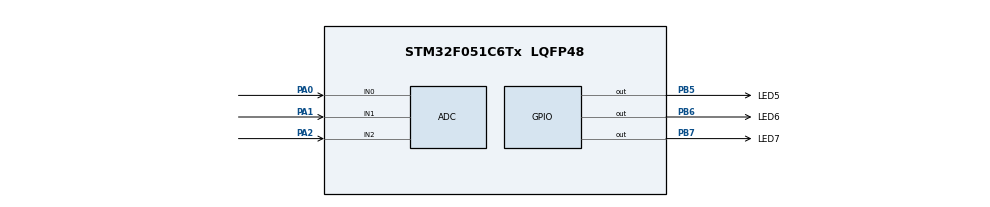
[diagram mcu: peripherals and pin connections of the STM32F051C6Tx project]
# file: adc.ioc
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Mcu.Family=STM32F0
Mcu.Name=STM32F051C6Tx
Mcu.Package=LQFP48
PA0.Mode=IN0
PA0.Signal=ADC_IN0
PA1.Mode=IN1
PA1.Signal=ADC_IN1
PA13.Mode=Serial_Wire
PA13.Signal=SYS_SWDIO
PA14.Mode=Serial_Wire
PA14.Signal=SYS_SWCLK
PA2.Mode=IN2
PA2.Signal=ADC_IN2
PB5.GPIO_Label=LED5
PB5.Signal=GPIO_Output
PB6.GPIO_Label=LED6
PB6.Signal=GPIO_Output
PB7.GPIO_Label=LED7
PB7.Signal=GPIO_Output
ProjectManager.HeapSize=0x200
ProjectManager.StackSize=0x400
ProjectManager.TargetToolchain=Makefile
board=custom

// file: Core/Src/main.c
/* USER CODE BEGIN Header */
/**
  ******************************************************************************
  * @file           : main.c
  * @brief          : Main program body
  ******************************************************************************
  * @attention
  *
  * Copyright (c) 2024 STMicroelectronics.
  * All rights reserved.
  *
  * This software is licensed under terms that can be found in the LICENSE file
  * in the root directory of this software component.
  * If no LICENSE file comes with this software, it is provided AS-IS.
  *
  ******************************************************************************ṇ
  */
/* USER CODE END Header */
#include "main.h"
#include "adc.h"
#include "gpio.h"

/* USER CODE BEGIN PV */
//JUSTIN - START 1/3
uint16_t adc_value ;
uint8_t channel = 0;
//JUSTIN - END
/* USER CODE END PV */

void SystemClock_Config(void);

int main(void)
{

  /* MCU Configuration--------------------------------------------------------*/

  /* Reset of all peripherals, Initializes the Flash interface and the Systick. */
  HAL_Init();

  /* Configure the system clock */
  SystemClock_Config();

  /* Initialize all configured peripherals */
  MX_GPIO_Init();
  MX_ADC_Init();

  /* Infinite loop */
  while (1)
  {

    /* USER CODE BEGIN 3 */
    //JUSTIN - START 2/3
    ADC1 -> CHSELR = ADC_CHSELR_CHSEL0;
    HAL_ADC_Start(&hadc);
    HAL_Delay(10);

    while(HAL_ADC_PollForConversion(&hadc,5)!= HAL_OK);
    adc_value = HAL_ADC_GetValue(&hadc);

    if(adc_value > 900) {
      HAL_GPIO_WritePin(LED7_GPIO_Port,LED7_Pin,SET);
    } else {
      HAL_GPIO_WritePin(LED7_GPIO_Port,LED7_Pin,RESET);
    }
    HAL_ADC_Stop(&hadc);

    ADC1 -> CHSELR = ADC_CHSELR_CHSEL1;
    HAL_ADC_Start(&hadc);
    HAL_Delay(10);

    while(HAL_ADC_PollForConversion(&hadc,5)!= HAL_OK);
    adc_value = HAL_ADC_GetValue(&hadc);

    if(adc_value > 900) {
      HAL_GPIO_WritePin(LED6_GPIO_Port,LED6_Pin,SET);
    } else {
      HAL_GPIO_WritePin(LED6_GPIO_Port,LED6_Pin,RESET);
    }
    HAL_ADC_Stop(&hadc);

   ADC1 -> CHSELR = ADC_CHSELR_CHSEL2;
    HAL_ADC_Start(&hadc);
    HAL_Delay(10);

    while(HAL_ADC_PollForConversion(&hadc,5)!= HAL_OK);
    adc_value = HAL_ADC_GetValue(&hadc);

    if(adc_value > 900) {
      HAL_GPIO_WritePin(LED5_GPIO_Port,LED5_Pin,SET);
    } else {
      HAL_GPIO_WritePin(LED5_GPIO_Port,LED5_Pin,RESET);
    }
    HAL_ADC_Stop(&hadc);

    //JUSTIN - END
  }
  /* USER CODE END 3 */
}

void SystemClock_Config(void)
{
  RCC_OscInitTypeDef RCC_OscInitStruct = {0};
  RCC_ClkInitTypeDef RCC_ClkInitStruct = {0};

  /** Initializes the RCC Oscillators according to the specified parameters
  * in the RCC_OscInitTypeDef structure.
  */
  RCC_OscInitStruct.OscillatorType = RCC_OSCILLATORTYPE_HSI|RCC_OSCILLATORTYPE_HSI14;
  RCC_OscInitStruct.HSIState = RCC_HSI_ON;
  RCC_OscInitStruct.HSI14State = RCC_HSI14_ON;
  RCC_OscInitStruct.HSICalibrationValue = RCC_HSICALIBRATION_DEFAULT;
  RCC_OscInitStruct.HSI14CalibrationValue = 16;
  RCC_OscInitStruct.PLL.PLLState = RCC_PLL_NONE;
  if (HAL_RCC_OscConfig(&RCC_OscInitStruct) != HAL_OK)
  {
    Error_Handler();
  }

  /** Initializes the CPU, AHB and APB buses clocks
  */
  RCC_ClkInitStruct.ClockType = RCC_CLOCKTYPE_HCLK|RCC_CLOCKTYPE_SYSCLK
                              |RCC_CLOCKTYPE_PCLK1;
  RCC_ClkInitStruct.SYSCLKSource = RCC_SYSCLKSOURCE_HSI;
  RCC_ClkInitStruct.AHBCLKDivider = RCC_SYSCLK_DIV1;
  RCC_ClkInitStruct.APB1CLKDivider = RCC_HCLK_DIV1;

  if (HAL_RCC_ClockConfig(&RCC_ClkInitStruct, FLASH_LATENCY_0) != HAL_OK)
  {
    Error_Handler();
  }
}

/* USER CODE BEGIN 4 */
//JUSTIN - START 3/3
/* I took this code from the adc.c file - In the init section.
* Regrettably setting up the ADC for reading multiple channels is not great without using DMA (scary)
* So you would need to just look at that file and work out how to modify your set channel accordingly.
*/
void adc_set_channel(uint8_t num) {
    ADC_ChannelConfTypeDef sConfig = {0};

    if (num>0) {
      sConfig.Channel = ADC_CHANNEL_5;
    } else {
      sConfig.Channel = ADC_CHANNEL_6;
    }
    sConfig.Rank = ADC_RANK_CHANNEL_NUMBER;
    sConfig.SamplingTime = ADC_SAMPLETIME_1CYCLE_5;
    if (HAL_ADC_ConfigChannel(&hadc, &sConfig) != HAL_OK)
    {
      Error_Handler();
    }
}
//JUSTIN - END
/* USER CODE END 4 */

void Error_Handler(void)
{
  __disable_irq();
  while (1)
  {
  }
}
